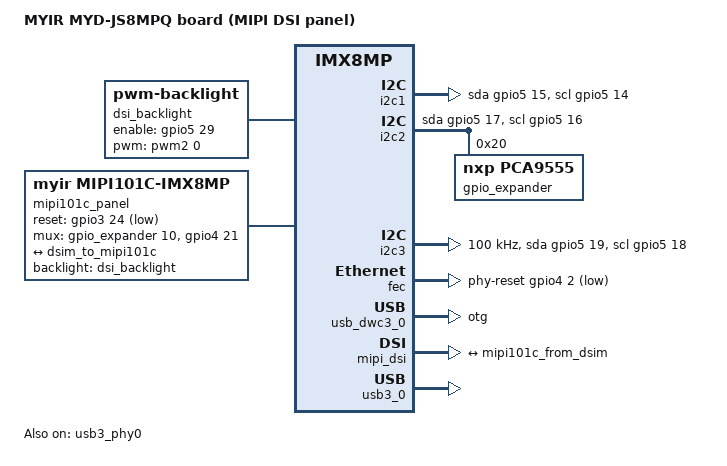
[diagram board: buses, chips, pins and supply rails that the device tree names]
// SPDX-License-Identifier: GPL-2.0+
/*
 * Copyright 2019, 2021 NXP
 */
#include "imx8mp-sec-def.h"

#include "imx8mp-u-boot.dtsi"

/ {
	model = "MYIR MYD-JS8MPQ board (MIPI DSI panel)";

	chosen {
		bootargs = "console=ttymxc1,115200 earlycon=ec_imx6q,0x30890000,115200";
	};

	wdt-reboot {
		compatible = "wdt-reboot";
		wdt = <&wdog1>;
		bootph-pre-ram;
	};

	/delete-node/ hdmi-connector;

	dsi_host: dsi-host {
		compatible = "samsung,sec-mipi-dsi";
		status = "okay";
	};

	dsi_backlight: backlight-dsi {
		compatible = "pwm-backlight";
		pinctrl-names = "default";
		pinctrl-0 = <&pinctrl_dsi_bl_en>;
		pwms = <&pwm2 0 100000 0>;
		brightness-levels = <0 8 16 32 48 64 80 96 112 128
				     144 160 176 192 208 224 240 255>;
		default-brightness-level = <14>;
		enable-gpios = <&gpio5 29 GPIO_ACTIVE_HIGH>;
	};

	mipi101c_panel {
		compatible = "myir,mipi101c-imx8mp";
		pinctrl-names = "default";
		pinctrl-0 = <&pinctrl_dsi_panel_reset &pinctrl_dsi_sel>;
		reset-gpios = <&gpio3 24 GPIO_ACTIVE_LOW>;
		mux-gpios = <&gpio_expander 10 GPIO_ACTIVE_HIGH>,
			    <&gpio4 21 GPIO_ACTIVE_HIGH>;
		backlight = <&dsi_backlight>;
		dsi-lanes = <4>;
		video-mode = <2>;
		panel-width-mm = <135>;
		panel-height-mm = <216>;
		status = "okay";

		panel-timing {
			clock-frequency = <165200000>;
			hactive = <1200>;
			hfront-porch = <228>;
			hsync-len = <12>;
			hback-porch = <20>;
			vactive = <1920>;
			vfront-porch = <3>;
			vsync-len = <1>;
			vback-porch = <5>;
			hsync-active = <0>;
			vsync-active = <0>;
		};

		port {
			mipi101c_from_dsim: endpoint {
				remote-endpoint = <&dsim_to_mipi101c>;
			};
		};
	};

	mcu_rdc {
		compatible = "imx8m,mcu_rdc";
			    /* rdc config when MCU starts
			     * master
			     *   SDMA3p --> domain 1
			     *   SDMA3b --> domian 1
			     *   SDMA3_SPBA2  --> domian 1
			     * peripheral:
			     *   SAI3   --> Only Domian 1 can access
			     *   UART4  --> Only Domian 1 can access
			     *   GPT1   --> Only Domian 1 can access
			     *   SDMA3  --> Only Domian 1 can access
			     *   I2C3   --> Only Domian 1 can access
			     * memory:
			     *   TCM    --> Only Domian 1 can access (0x7E0000~0x81FFFF)
			     *   DDR    --> Only Domian 1 can access (0x80000000~0x81000000)
			     * end.
			     */
		start-config = <
			    RDC_MDA  RDC_MDA_SDMA3p DID1 0x0 0x0
			    RDC_MDA  RDC_MDA_ENET1_TX DID1 0x0 0x0
			    RDC_MDA  RDC_MDA_ENET1_RX DID1 0x0 0x0
			    RDC_MDA  RDC_MDA_SDMA3b DID1 0x0 0x0
			    RDC_MDA  RDC_MDA_SDMA3_SPBA2 DID1 0x0 0x0
			    RDC_PDAP RDC_PDAP_ENET1 PDAP_D0D1_ACCESS 0x0 0x0
			    RDC_PDAP RDC_PDAP_SAI3  PDAP_D1_ACCESS 0x0 0x0
			    RDC_PDAP RDC_PDAP_UART4 PDAP_D1_ACCESS 0x0 0x0
			    RDC_PDAP RDC_PDAP_GPT1  PDAP_D1_ACCESS 0x0 0x0
			    RDC_PDAP RDC_PDAP_SDMA3 PDAP_D1_ACCESS 0x0 0x0
			    RDC_PDAP RDC_PDAP_I2C3  PDAP_D1_ACCESS 0x0 0x0
			    RDC_MEM_REGION 22 TCM_START TCM_END MEM_D1_ACCESS
			    RDC_MEM_REGION 39 M4_DDR_START M4_DDR_END MEM_D1_ACCESS
			    0x0      0x0            0x0  0x0 0x0
			  >;
			    /* rdc config when MCU stops
			     * memory:
			     *   TCM    --> domain 0/1 can access (0x7E0000~0x81FFFF)
			     *   DDR    --> domain 0/1 can access (0x80000000~0x81000000)
			     * end.
			     */
		stop-config = <
			    RDC_MEM_REGION 22 TCM_START TCM_END MEM_D0D1_ACCESS
			    RDC_MEM_REGION 39 M4_DDR_START M4_DDR_END MEM_D0D1_ACCESS
			    0x0      0x0            0x0  0x0 0x0
			  >;
	};
};

&{/gpio-leds} {
	/delete-node/ status;

	led-0 {
		label = "yellow:status";
		gpios = <&gpio3 16 GPIO_ACTIVE_HIGH>;
		default-state = "on";
	};
};

&pinctrl_i2c1 {
	bootph-all;
};

&pinctrl_pmic {
	bootph-all;
};

&{/soc@0/bus@30800000/i2c@30a20000/pmic@25} {
	bootph-all;
};

&{/soc@0/bus@30800000/i2c@30a20000/pmic@25/regulators} {
	bootph-all;
};

&reg_usdhc2_vmmc {
	bootph-pre-ram;
	off-on-delay-us = <20000>;
};

&pinctrl_reg_usdhc2_vmmc {
	bootph-pre-ram;
};

&pinctrl_uart2 {
	bootph-pre-ram;
};

&pinctrl_usdhc2_gpio {
	bootph-pre-ram;
};

&pinctrl_usdhc2 {
	bootph-pre-ram;
};

&pinctrl_usdhc3 {
	bootph-pre-ram;
};

&pinctrl_wdog {
	bootph-pre-ram;
};

&gpio1 {
	bootph-pre-ram;
};

&gpio2 {
	bootph-pre-ram;
};

&gpio3 {
	bootph-pre-ram;
};

&gpio4 {
	bootph-pre-ram;
};

&gpio5 {
	bootph-pre-ram;
};

&uart2 {
	bootph-pre-ram;
};

&i2c1 {
	pinctrl-names = "default", "gpio";
	pinctrl-1 = <&pinctrl_i2c1_gpio>;
	scl-gpios = <&gpio5 14 GPIO_ACTIVE_HIGH>;
	sda-gpios = <&gpio5 15 GPIO_ACTIVE_HIGH>;
	bootph-all;
};

&i2c2 {
	pinctrl-names = "default", "gpio";
	pinctrl-1 = <&pinctrl_i2c2_gpio>;
	scl-gpios = <&gpio5 16 GPIO_ACTIVE_HIGH>;
	sda-gpios = <&gpio5 17 GPIO_ACTIVE_HIGH>;
	bootph-pre-ram;

	/delete-node/ hdmi@3d;

	gpio_expander: gpio@20 {
		compatible = "nxp,pca9555";
		reg = <0x20>;
		gpio-controller;
		#gpio-cells = <2>;
	};
};

&i2c3 {
	clock-frequency = <100000>;
	pinctrl-names = "default", "gpio";
	pinctrl-1 = <&pinctrl_i2c3_gpio>;
	scl-gpios = <&gpio5 18 GPIO_ACTIVE_HIGH>;
	sda-gpios = <&gpio5 19 GPIO_ACTIVE_HIGH>;
	bootph-pre-ram;
};

&usdhc1 {
	bootph-pre-ram;
	assigned-clocks = <&clk IMX8MP_CLK_USDHC1>;
	assigned-clock-rates = <400000000>;
	assigned-clock-parents = <&clk IMX8MP_SYS_PLL1_400M>;
};

&usdhc2 {
	bootph-pre-ram;
	/*
	 * SD slot on this baseboard reads garbage at 200MHz UHS (signal
	 * integrity). Drop to high-speed 3.3V only until HW is verified.
	 */
	no-1-8-v;
	no-sd-uhs-sdr104;
	no-sd-uhs-ddr50;
	no-sd-uhs-sdr50;
	assigned-clocks = <&clk IMX8MP_CLK_USDHC2>;
	assigned-clock-rates = <400000000>;
	assigned-clock-parents = <&clk IMX8MP_SYS_PLL1_400M>;
};

&usdhc3 {
	bootph-pre-ram;
	mmc-hs400-1_8v;
	mmc-hs400-enhanced-strobe;
	assigned-clocks = <&clk IMX8MP_CLK_USDHC3>;
	assigned-clock-rates = <400000000>;
	assigned-clock-parents = <&clk IMX8MP_SYS_PLL1_400M>;
};

&wdog1 {
	bootph-pre-ram;
};

&ethphy0 {
	reset-gpios = <&gpio4 3 GPIO_ACTIVE_HIGH>;
	reset-assert-us = <15000>;
	reset-deassert-us = <100000>;
};

&fec {
	phy-reset-gpios = <&gpio4 2 GPIO_ACTIVE_HIGH>;
	phy-reset-duration = <15>;
	phy-reset-post-delay = <100>;
};

&flexspi {
	assigned-clock-parents = <&clk IMX8MP_SYS_PLL1_400M>;
};

&media_blk_ctrl {
	assigned-clocks = <&clk IMX8MP_CLK_MEDIA_AXI>,
				  <&clk IMX8MP_CLK_MEDIA_APB>,
				  <&clk IMX8MP_CLK_MEDIA_DISP1_PIX>,
				  <&clk IMX8MP_CLK_MEDIA_DISP2_PIX>,
				  <&clk IMX8MP_VIDEO_PLL1>;
	assigned-clock-parents = <&clk IMX8MP_SYS_PLL2_1000M>,
				 <&clk IMX8MP_SYS_PLL1_800M>,
				 <&clk IMX8MP_VIDEO_PLL1_OUT>,
				 <&clk IMX8MP_VIDEO_PLL1_OUT>;
	assigned-clock-rates = <500000000>, <200000000>;
};

&usb_dwc3_0 {
	compatible = "fsl,imx8mq-dwc3", "snps,dwc3";
	assigned-clocks = <&clk IMX8MP_CLK_HSIO_AXI>;
	assigned-clock-parents = <&clk IMX8MP_SYS_PLL1_800M>;
	assigned-clock-rates = <400000000>;
};

&usb_dwc3_1 {
	compatible = "fsl,imx8mq-dwc3", "snps,dwc3";
	pinctrl-names = "default", "gpio";
	pinctrl-1 = <&pinctrl_usb1_vbus_gpio>;
	assigned-clocks = <&clk IMX8MP_CLK_HSIO_AXI>;
	assigned-clock-parents = <&clk IMX8MP_SYS_PLL1_800M>;
	assigned-clock-rates = <400000000>;
};

&lcdif3 {
	status = "disabled";
};

&lcdif1 {
	assigned-clocks = <&clk IMX8MP_VIDEO_PLL1>,
			  <&clk IMX8MP_CLK_MEDIA_DISP1_PIX>,
			  <&clk IMX8MP_CLK_MEDIA_AXI>,
			  <&clk IMX8MP_CLK_MEDIA_APB>;
	assigned-clock-parents = <0>,
				 <&clk IMX8MP_VIDEO_PLL1_OUT>,
				 <&clk IMX8MP_SYS_PLL2_1000M>,
				 <&clk IMX8MP_SYS_PLL1_800M>;
	assigned-clock-rates = <991200000>, <165200000>,
			       <500000000>, <200000000>;
};

&mipi_dsi {
	/delete-property/ assigned-clocks;
	/delete-property/ assigned-clock-parents;
	/delete-property/ assigned-clock-rates;

	ports {
		/delete-node/ port@1;

		port@1 {
			reg = <1>;

			dsim_to_mipi101c: endpoint {
				remote-endpoint = <&mipi101c_from_dsim>;
			};
		};
	};
};

&usb3_phy0 {
	fsl,phy-tx-vref-tune = <0xe>;
	fsl,phy-tx-preemp-amp-tune = <3>;
	fsl,phy-tx-vboost-level = <5>;
	fsl,phy-comp-dis-tune = <7>;
	fsl,pcs-tx-deemph-3p5db = <0x21>;
	fsl,phy-pcs-tx-swing-full = <0x7f>;
	status = "okay";
};

&usb3_0 {
	status = "okay";
};

&usb_dwc3_0 {
	dr_mode = "otg";
	hnp-disable;
	srp-disable;
	adp-disable;
	usb-role-switch;
	role-switch-default-mode = "none";
	snps,dis-u1-entry-quirk;
	snps,dis-u2-entry-quirk;
	status = "okay";
};

&iomuxc {
	pinctrl_dsi_panel_reset: dsipanelresetgrp {
		fsl,pins = <
			MX8MP_IOMUXC_SAI5_RXD3__GPIO3_IO24	0x140
		>;
	};

	pinctrl_dsi_sel: dsiselgrp {
		fsl,pins = <
			MX8MP_IOMUXC_SAI2_RXFS__GPIO4_IO21	0x140
		>;
	};

	pinctrl_dsi_bl_en: dsiblengrp {
		fsl,pins = <
			MX8MP_IOMUXC_UART4_TXD__GPIO5_IO29	0x140
		>;
	};

	pinctrl_i2c1_gpio: i2c1gpiogrp {
		fsl,pins = <
			MX8MP_IOMUXC_I2C1_SCL__GPIO5_IO14        	0x1c3
			MX8MP_IOMUXC_I2C1_SDA__GPIO5_IO15        	0x1c3
		>;
	};

	pinctrl_i2c2_gpio: i2c2gpiogrp {
		fsl,pins = <
			MX8MP_IOMUXC_I2C2_SCL__GPIO5_IO16        	0x1c3
			MX8MP_IOMUXC_I2C2_SDA__GPIO5_IO17        	0x1c3
		>;
	};

	pinctrl_i2c3_gpio: i2c3gpiogrp {
		fsl,pins = <
			MX8MP_IOMUXC_I2C3_SCL__GPIO5_IO18        	0x1c3
			MX8MP_IOMUXC_I2C3_SDA__GPIO5_IO19        	0x1c3
		>;
	};

	pinctrl_usb1_vbus_gpio: usb1gpiogrp {
		fsl,pins = <
			MX8MP_IOMUXC_GPIO1_IO14__GPIO1_IO14        	0x10
		>;
	};
};

&pinctrl_i2c1_gpio {
	bootph-all;
};
